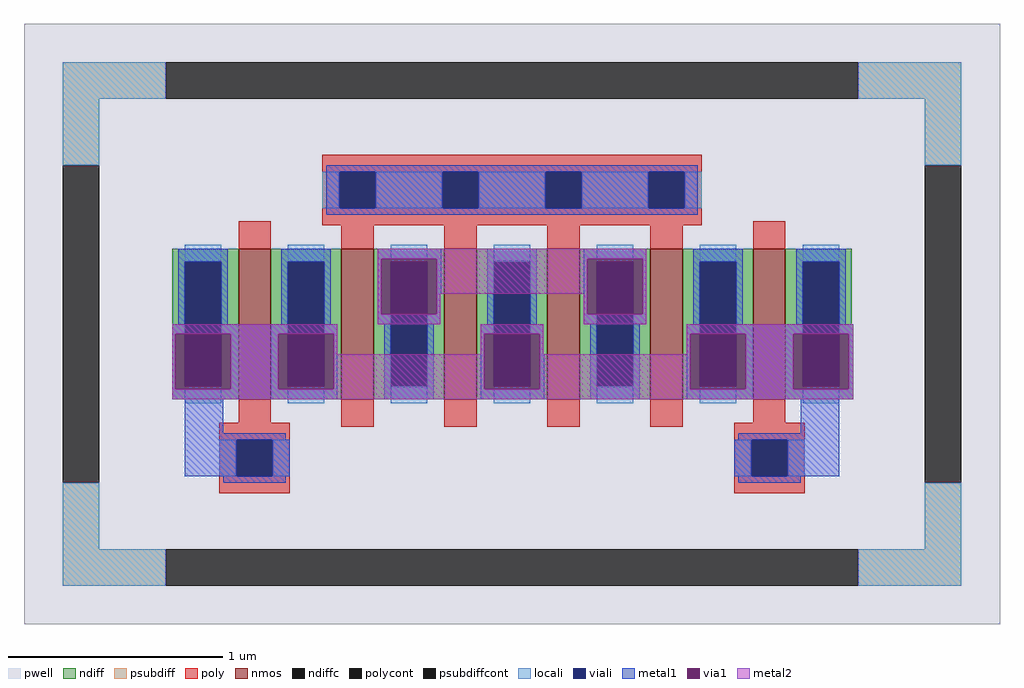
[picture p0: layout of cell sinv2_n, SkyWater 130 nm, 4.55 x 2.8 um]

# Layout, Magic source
magic
tech sky130A
magscale 1 2
<< pwell >>
rect -455 -280 455 280
<< nmos >>
rect -255 -70 -225 70
rect -159 -70 -129 70
rect -63 -70 -33 70
rect 33 -70 63 70
rect 129 -70 159 70
rect 225 -70 255 70
<< ndiff >>
rect -317 58 -255 70
rect -317 -58 -305 58
rect -271 -58 -255 58
rect -317 -70 -255 -58
rect -225 58 -159 70
rect -225 -58 -209 58
rect -175 -58 -159 58
rect -225 -70 -159 -58
rect -129 58 -63 70
rect -129 -58 -113 58
rect -79 -58 -63 58
rect -129 -70 -63 -58
rect -33 58 33 70
rect -33 -58 -17 58
rect 17 -58 33 58
rect -33 -70 33 -58
rect 63 58 129 70
rect 63 -58 79 58
rect 113 -58 129 58
rect 63 -70 129 -58
rect 159 58 225 70
rect 159 -58 175 58
rect 209 -58 225 58
rect 159 -70 225 -58
rect 255 58 317 70
rect 255 -58 271 58
rect 305 0 317 58
rect 305 -58 318 0
rect 255 -70 318 -58
<< ndiffc >>
rect -305 -58 -271 58
rect -209 -58 -175 58
rect -113 -58 -79 58
rect -17 -58 17 58
rect 79 -58 113 58
rect 175 -58 209 58
rect 271 -58 305 58
<< psubdiff >>
rect -419 210 -323 244
rect 323 210 419 244
rect -419 148 -385 210
rect 385 148 419 210
rect -419 -210 -385 -148
rect 385 -210 419 -148
rect -419 -244 -323 -210
rect 323 -244 419 -210
<< psubdiffcont >>
rect -323 210 323 244
rect -419 -148 -385 148
rect 385 -148 419 148
rect -323 -244 323 -210
<< poly >>
rect -177 142 177 158
rect -177 108 -161 142
rect -127 108 -65 142
rect -31 108 31 142
rect 65 108 127 142
rect 161 108 177 142
rect -255 70 -225 96
rect -177 92 177 108
rect -159 70 -129 92
rect -63 70 -33 92
rect 33 70 63 92
rect 129 70 159 92
rect 225 70 255 96
rect -255 -92 -225 -70
rect -273 -108 -207 -92
rect -159 -96 -129 -70
rect -63 -96 -33 -70
rect 33 -96 63 -70
rect 129 -96 159 -70
rect 225 -92 255 -70
rect -273 -142 -257 -108
rect -223 -142 -207 -108
rect -273 -158 -207 -142
rect 207 -108 273 -92
rect 207 -142 223 -108
rect 257 -142 273 -108
rect 207 -158 273 -142
<< polycont >>
rect -161 108 -127 142
rect -65 108 -31 142
rect 31 108 65 142
rect 127 108 161 142
rect -257 -142 -223 -108
rect 223 -142 257 -108
<< locali >>
rect -419 210 -323 244
rect 323 210 419 244
rect -419 148 -385 210
rect 385 148 419 210
rect -177 108 -161 142
rect -127 108 -65 142
rect -31 108 31 142
rect 65 108 127 142
rect 161 108 177 142
rect -305 58 -271 74
rect -305 -74 -271 -58
rect -209 58 -175 74
rect -209 -74 -175 -58
rect -113 58 -79 74
rect -113 -74 -79 -58
rect -17 58 17 74
rect -17 -74 17 -58
rect 79 58 113 74
rect 79 -74 113 -58
rect 175 58 209 74
rect 175 -74 209 -58
rect 271 58 305 74
rect 271 -74 305 -58
rect -273 -142 -257 -108
rect -223 -142 -207 -108
rect 207 -142 223 -108
rect 257 -142 273 -108
rect -419 -210 -385 -148
rect 385 -210 419 -148
rect -419 -244 -323 -210
rect 323 -244 419 -210
<< viali >>
rect -161 108 -127 142
rect -65 108 -31 142
rect 31 108 65 142
rect 127 108 161 142
rect -305 -58 -271 58
rect -209 -58 -175 58
rect -113 -58 -79 58
rect -17 -58 17 58
rect 79 -58 113 58
rect 175 -58 209 58
rect 271 -58 305 58
rect -257 -142 -223 -108
rect 223 -142 257 -108
<< metal1 >>
rect -173 142 173 148
rect -173 108 -161 142
rect -127 108 -65 142
rect -31 108 31 142
rect 65 108 127 142
rect 161 108 173 142
rect -173 102 173 108
rect -311 58 -265 70
rect -311 0 -305 58
rect -317 -9 -305 0
rect -271 0 -265 58
rect -215 58 -169 70
rect -215 0 -209 58
rect -271 -9 -209 0
rect -175 0 -169 58
rect -125 61 -66 70
rect -125 9 -122 61
rect -70 28 -66 61
rect -23 58 23 70
rect -70 9 -67 28
rect -125 0 -113 9
rect -175 -9 -163 0
rect -317 -61 -314 -9
rect -262 -61 -218 -9
rect -166 -61 -163 -9
rect -317 -70 -163 -61
rect -119 -58 -113 0
rect -79 0 -67 9
rect -23 0 -17 58
rect -79 -58 -73 0
rect -119 -70 -73 -58
rect -29 -9 -17 0
rect 17 0 23 58
rect 67 61 125 70
rect 67 9 70 61
rect 122 9 125 61
rect 67 0 79 9
rect 17 -9 29 0
rect -29 -61 -26 -9
rect 26 -28 29 -9
rect 26 -61 30 -28
rect -29 -70 30 -61
rect 73 -58 79 0
rect 113 0 125 9
rect 169 58 215 70
rect 169 0 175 58
rect 113 -58 119 0
rect 73 -70 119 -58
rect 163 -9 175 0
rect 209 0 215 58
rect 265 58 311 70
rect 265 0 271 58
rect 209 -9 271 0
rect 305 0 311 58
rect 305 -9 318 0
rect 163 -61 166 -9
rect 218 -61 262 -9
rect 314 -61 318 -9
rect 163 -70 318 -61
rect -305 -102 -269 -70
rect 269 -102 305 -70
rect -305 -108 -211 -102
rect 211 -108 305 -102
rect -305 -142 -257 -108
rect -223 -142 -207 -108
rect 207 -142 223 -108
rect 257 -142 305 -108
rect -269 -148 -211 -142
rect 211 -148 269 -142
<< via1 >>
rect -122 58 -70 61
rect -122 9 -113 58
rect -113 9 -79 58
rect -79 9 -70 58
rect -314 -58 -305 -9
rect -305 -58 -271 -9
rect -271 -58 -262 -9
rect -314 -61 -262 -58
rect -218 -58 -209 -9
rect -209 -58 -175 -9
rect -175 -58 -166 -9
rect -218 -61 -166 -58
rect 70 58 122 61
rect 70 9 79 58
rect 79 9 113 58
rect 113 9 122 58
rect -26 -58 -17 -9
rect -17 -58 17 -9
rect 17 -58 26 -9
rect -26 -61 26 -58
rect 166 -58 175 -9
rect 175 -58 209 -9
rect 209 -58 218 -9
rect 166 -61 218 -58
rect 262 -58 271 -9
rect 271 -58 305 -9
rect 305 -58 314 -9
rect 262 -61 314 -58
<< metal2 >>
rect -125 61 125 70
rect -125 9 -122 61
rect -70 28 70 61
rect -70 9 -67 28
rect -125 0 -67 9
rect 67 9 70 28
rect 122 9 125 61
rect 67 0 125 9
rect -317 -9 -163 0
rect -317 -61 -314 -9
rect -262 -61 -218 -9
rect -166 -28 -163 -9
rect -29 -9 29 0
rect -29 -28 -26 -9
rect -166 -61 -26 -28
rect 26 -28 29 -9
rect 163 -9 318 0
rect 163 -28 166 -9
rect 26 -61 166 -28
rect 218 -61 262 -9
rect 314 -61 318 -9
rect -317 -70 318 -61
<< properties >>
string FIXED_BBOX -402 -227 402 227
string gencell sky130_fd_pr__nfet_01v8
string library sky130
string parameters w 0.7 l 0.150 m 1 nf 6 diffcov 100 polycov 100 guard 1 glc 1 grc 1 gtc 1 gbc 1 tbcov 100 rlcov 100 topc 1 botc 1 poverlap 0 doverlap 1 lmin 0.15 wmin 0.42 compatible {sky130_fd_pr__nfet_01v8 sky130_fd_pr__nfet_01v8_lvt  sky130_fd_bs_flash__special_sonosfet_star  sky130_fd_pr__nfet_g5v0d10v5 sky130_fd_pr__nfet_05v0_nvt  sky130_fd_pr__nfet_03v3_nvt} full_metal 1 viasrc 100 viadrn 100 viagate 100 viagb 0 viagr 0 viagl 0 viagt 0
<< end >>
